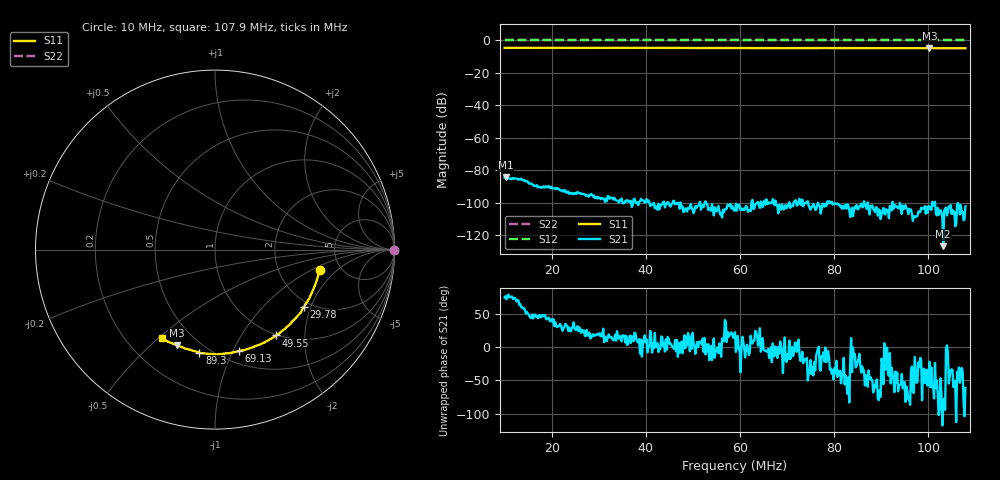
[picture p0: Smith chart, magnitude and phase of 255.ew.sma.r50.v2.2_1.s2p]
! Anritsu VNA Master:  Model: MS2036C/10/77
! SN:  1601066
! /card0/usr/255.ew.sma.r50.v2.2_1.s2p
! Existing Calibration Information:
! TYPE:  Current Settings,  Active Cal Settings
! TIME:  12/17/2017 06:31:43 PM,  12/17/2017 06:11:23 PM
! INTERNAL TEMP:  44.0 C,  43.8 C
! # POINTS:  501,  501
! START FREQ:  10.000 MHz,  10.000 MHz
! STOP FREQ:  107.903 125 MHz,  107.903 125 MHz
! SOURCE POWER:  High,  High
! IFBW:  100 Hz,  100 Hz
! AVG FACTOR:  1 ,  1
! REF PLANE 1:  0 mm,  0 mm
! REF PLANE 2:  0 mm,  0 mm
! CAL TYPE:  Full S11,  Full S11
! CAL METHOD:  SOLT,  SOLT
! CAL LINE TYPE:  Coax,  Coax
! DUT PORT 1:  K-Conn(F),  K-Conn(F)
! DUT PORT 2:  K-Conn(F),  K-Conn(F)
! CAL STATUS:  OK: Accuracy High,  --
# GHZ S DB R 50.0
! FREQ.GHZ  S11DB  S11A  S21DB  S21A  S12DB  S12A  S22DB  S22A
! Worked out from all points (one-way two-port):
!   501 points, 10 MHz to 107.9 MHz, reference 50 ohm
!   highest |S21| = -84.25 dB at 10.2 MHz (marker M1); lowest = -126.8 dB at 103.2 MHz (marker M2)
!   lowest |S11| = -4.8 dB at 100.3 MHz (marker M3), VSWR 3.68, Z = 19.1 - j30.3 ohm
!   |S11| at or under -10 dB: nowhere
!   |S22| runs from 0.0 to 0.0 dB; largest |S21 - S12| = 1
!   S11 on the Smith chart (normalised r, x): 10 MHz: 3.48, -1.19; 29.78 MHz: 1.83, -1.79; 49.55 MHz: 0.99, -1.44; 69.13 MHz: 0.62, -1.06; 89.3 MHz: 0.44, -0.76; 107.9 MHz: 0.35, -0.51
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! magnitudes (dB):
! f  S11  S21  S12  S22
! 10 MHz  -4.5  -84.5  0.0  0.0
! 10.2 MHz  -4.5  -84.3  0.0  0.0
! 26.45 MHz  -4.6  -94.5  0.0  0.0
! 29.78 MHz  -4.6  -97.4  0.0  0.0
! 30.76 MHz  -4.6  -97.2  0.0  0.0
! 33.11 MHz  -4.5  -98.0  0.0  0.0
! 38.59 MHz  -4.6  -99.5  0.0  0.0
! 40.55 MHz  -4.6  -98.6  0.0  0.0
! 42.7 MHz  -4.6  -100.7  0.0  0.0
! 49.55 MHz  -4.6  -100.7  0.0  0.0
! 59.15 MHz  -4.7  -100.6  0.0  0.0
! 60.71 MHz  -4.7  -103.6  0.0  0.0
! 66.2 MHz  -4.7  -99.7  0.0  0.0
! 69.13 MHz  -4.7  -102.7  0.0  0.0
! 75.4 MHz  -4.7  -102.4  0.0  0.0
! 80.49 MHz  -4.7  -100.9  0.0  0.0
! 83.23 MHz  -4.7  -104.6  0.0  0.0
! 89.3 MHz  -4.7  -108.0  0.0  0.0
! 91.65 MHz  -4.8  -109.5  0.0  0.0
! 100.3 MHz  -4.8  -103.6  0.0  0.0
! 103.2 MHz  -4.8  -126.8  0.0  0.0
! 107.9 MHz  -4.8  -102.2  0.0  0.0
